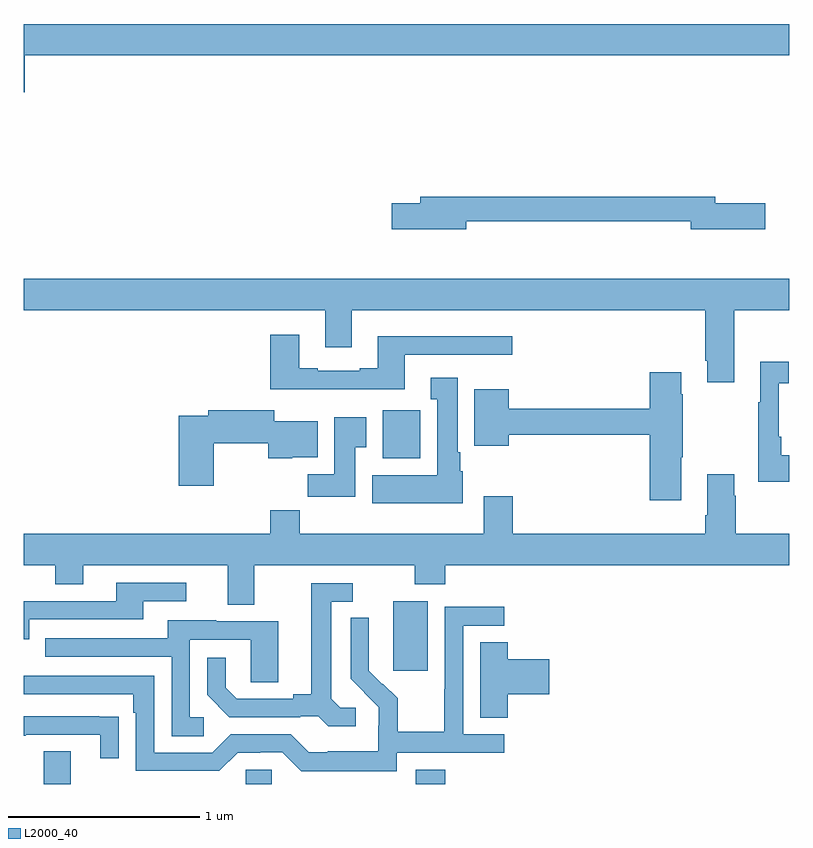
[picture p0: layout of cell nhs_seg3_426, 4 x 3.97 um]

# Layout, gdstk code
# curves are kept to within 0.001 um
import gdstk
lib = gdstk.Library(unit=1e-6, precision=1e-09)
def R(c, l, rs):  # rectangles x0, y0, x1, y1
    for r in rs: c.add(gdstk.rectangle(r[:2], r[2:], *l))
def P(c, l, *ps):  # polygons
    for p in ps: c.add(gdstk.Polygon(p, *l))
L2000_40 = (2000, 40)

nhs_seg3_426 = lib.new_cell('nhs_seg3_426')
R(nhs_seg3_426, L2000_40, [(131.105,738.4,131.245,738.571), (132.159,738.4,132.297,738.474), (133.049,738.4,133.202,738.475), (132.932,738.993,133.111,739.354), (132.875,740.102,133.071,740.353)])
P(nhs_seg3_426, L2000_40, [(131.006,742.208),(135,742.208),(135,742.372),(131,742.372),(131,742.014),(131.006,742.014)],
  [(133.312,741.342),(134.486,741.342),(134.486,741.299),(134.875,741.299),(134.875,741.434),(134.614,741.434),(134.614,741.47),(133.073,741.47),(133.073,741.434),(132.924,741.434),(132.924,741.299),(133.312,741.299)],
  [(134.713,740.876),(135,740.876),(135,741.04),(131,741.04),(131,740.876),(132.575,740.876),(132.575,740.682),(132.715,740.682),(132.715,740.876),(134.561,740.876),(134.561,740.611),(134.573,740.611),(134.573,740.499),(134.713,740.499)],
  [(132.991,740.643),(133.552,740.643),(133.552,740.74),(132.851,740.74),(132.851,740.572),(132.755,740.572),(132.755,740.559),(132.535,740.559),(132.535,740.572),(132.439,740.572),(132.439,740.749),(132.287,740.749),(132.287,740.462),(132.991,740.462)],
  [(135,740.119),(134.959,740.119),(134.959,740.215),(134.946,740.215),(134.946,740.495),(134.998,740.495),(134.998,740.608),(134.849,740.608),(134.849,740.395),(134.838,740.395),(134.838,739.979),(135,739.979)],
  [(134.437,740.107),(134.445,740.107),(134.445,740.438),(134.437,740.438),(134.437,740.551),(134.27,740.551),(134.27,740.36),(133.534,740.36),(133.534,740.464),(133.355,740.464),(133.355,740.168),(133.534,740.168),(133.534,740.224),(134.27,740.224),(134.27,739.884),(134.437,739.884)],
  [(133.294,740.034),(133.282,740.034),(133.282,740.134),(133.267,740.134),(133.267,740.524),(133.127,740.524),(133.127,740.411),(133.16,740.411),(133.16,740.014),(132.821,740.014),(132.821,739.868),(133.294,739.868)],
  [(131.993,740.182),(132.277,740.182),(132.277,740.102),(132.402,740.102),(132.402,740.108),(132.535,740.108),(132.535,740.296),(132.31,740.296),(132.31,740.354),(131.963,740.354),(131.963,740.324),(131.81,740.324),(131.81,739.959),(131.993,739.959)],
  [(132.733,740.161),(132.79,740.161),(132.79,740.317),(132.623,740.317),(132.623,740.02),(132.484,740.02),(132.484,739.902),(132.733,739.902)],
  [(132.205,739.544),(133.042,739.544),(133.042,739.445),(133.202,739.445),(133.202,739.544),(135,739.544),(135,739.708),(134.721,739.708),(134.721,739.907),(134.713,739.907),(134.713,740.02),(134.573,740.02),(134.573,739.804),(134.561,739.804),(134.561,739.708),(133.556,739.708),(133.556,739.903),(133.403,739.903),(133.403,739.708),(132.443,739.708),(132.443,739.832),(132.287,739.832),(132.287,739.708),(131,739.708),(131,739.544),(131.164,739.544),(131.164,739.445),(131.311,739.445),(131.311,739.544),(132.065,739.544),(132.065,739.336),(132.205,739.336)],
  [(131.028,739.26),(131.623,739.26),(131.623,739.356),(131.848,739.356),(131.848,739.452),(131.483,739.452),(131.483,739.356),(131,739.356),(131,739.157),(131.028,739.157)],
  [(132.736,738.798),(132.654,738.798),(132.607,738.845),(132.607,739.353),(132.718,739.353),(132.718,739.449),(132.503,739.449),(132.503,738.869),(132.407,738.869),(132.407,738.846),(132.112,738.846),(132.055,738.903),(132.055,739.06),(131.958,739.06),(131.958,738.866),(132.074,738.75),(132.446,738.75),(132.446,738.753),(132.54,738.753),(132.592,738.701),(132.736,738.701)],
  [(132.948,738.564),(133.51,738.564),(133.51,738.66),(133.296,738.66),(133.296,739.227),(133.51,739.227),(133.51,739.326),(133.2,739.326),(133.2,738.896),(133.198,738.896),(133.198,738.673),(132.953,738.673),(132.953,738.847),(132.876,738.924),(132.873,738.921),(132.803,738.992),(132.804,739.268),(132.708,739.268),(132.708,738.95),(132.854,738.802),(132.854,738.705),(132.852,738.705),(132.852,738.571),(132.589,738.571),(132.589,738.567),(132.489,738.567),(132.396,738.66),(132.081,738.66),(131.985,738.564),(131.682,738.564),(131.682,738.966),(131,738.966),(131,738.87),(131.573,738.87),(131.573,738.773),(131.586,738.773),(131.586,738.468),(132.021,738.468),(132.117,738.564),(132.236,738.564),(132.236,738.567),(132.351,738.567),(132.451,738.467),(132.948,738.467)],
  [(131.941,738.75),(131.868,738.75),(131.868,739.155),(132.186,739.155),(132.186,738.931),(132.331,738.931),(132.331,739.251),(132.007,739.251),(132.007,739.255),(131.753,739.255),(131.753,739.161),(131.113,739.161),(131.113,739.065),(131.772,739.065),(131.772,738.649),(131.941,738.649)],
  [(133.529,738.869),(133.747,738.869),(133.747,739.052),(133.529,739.052),(133.529,739.142),(133.385,739.142),(133.385,738.745),(133.529,738.745)],
  [(131.495,738.752),(131.393,738.752),(131.393,738.753),(131,738.753),(131,738.652),(131.009,738.652),(131.009,738.657),(131.399,738.657),(131.399,738.534),(131.495,738.534)])

lib.write_gds('nhs_seg3_426.gds')
